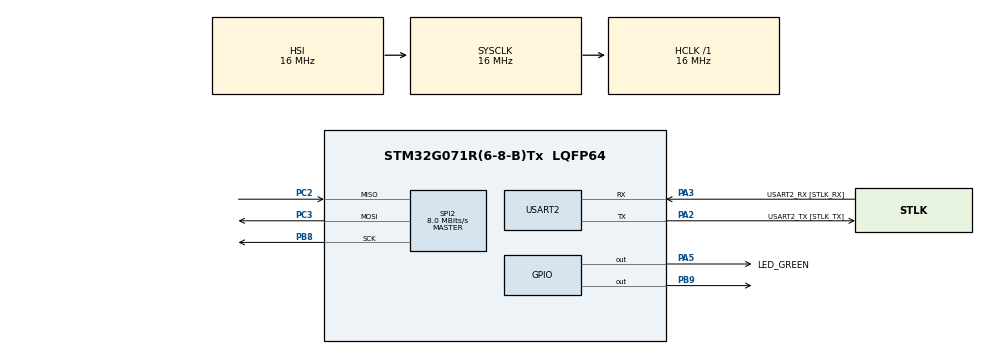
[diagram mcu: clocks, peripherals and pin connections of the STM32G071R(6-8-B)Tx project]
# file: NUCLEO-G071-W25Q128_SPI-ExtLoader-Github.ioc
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Mcu.Family=STM32G0
Mcu.Name=STM32G071R(6-8-B)Tx
Mcu.Package=LQFP64
PA13.GPIO_Label=TMS
PA13.Signal=SYS_SWDIO
PA14-BOOT0.GPIO_Label=TCK
PA14-BOOT0.Signal=SYS_SWCLK
PA2.GPIO_Label=USART2_TX [STLK_TX]
PA2.Mode=Asynchronous
PA2.Signal=USART2_TX
PA3.GPIO_Label=USART2_RX [STLK_RX]
PA3.Mode=Asynchronous
PA3.Signal=USART2_RX
PA5.GPIO_Label=LED_GREEN
PA5.GPIO_Speed=GPIO_SPEED_FREQ_HIGH
PA5.Signal=GPIO_Output
PB8.Mode=Full_Duplex_Master
PB8.Signal=SPI2_SCK
PB9.PinState=GPIO_PIN_SET
PB9.Signal=GPIO_Output
PC13.Signal=SYS_WKUP2
PC14-OSC32_IN\ (PC14).Signal=RCC_OSC32_IN
PC15-OSC32_OUT\ (PC15).Signal=RCC_OSC32_OUT
PC2.Mode=Full_Duplex_Master
PC2.Signal=SPI2_MISO
PC3.Mode=Full_Duplex_Master
PC3.Signal=SPI2_MOSI
PF0-OSC_IN\ (PF0).GPIO_Label=MCO
PF0-OSC_IN\ (PF0).Signal=RCC_OSC_IN
ProjectManager.HeapSize=0x200
ProjectManager.StackSize=0x400
ProjectManager.TargetToolchain=STM32CubeIDE
RCC.AHBFreq_Value=16000000
RCC.CortexFreq_Value=16000000
RCC.EXTERNAL_CLOCK_VALUE=12288000
RCC.HCLKFreq_Value=16000000
RCC.HSE_VALUE=8000000
RCC.HSI_VALUE=16000000
RCC.LSE_VALUE=32768
RCC.SYSCLKFreq_VALUE=16000000
RCC.VCOOutputFreq_Value=128000000
SPI2.BaudRatePrescaler=SPI_BAUDRATEPRESCALER_2
SPI2.CLKPhase=SPI_PHASE_2EDGE
SPI2.CLKPolarity=SPI_POLARITY_HIGH
SPI2.CalculateBaudRate=8.0 MBits/s
SPI2.DataSize=SPI_DATASIZE_8BIT
SPI2.Direction=SPI_DIRECTION_2LINES
SPI2.Mode=SPI_MODE_MASTER
SPI2.VirtualType=VM_MASTER
USART2.VirtualMode-Asynchronous=VM_ASYNC
VP_SYS_VS_DBSignals.Mode=DisableDeadBatterySignals
board=NUCLEO-G071RB

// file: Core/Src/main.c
/* USER CODE BEGIN Header */
/**
  ******************************************************************************
  * @file           : main.c
  * @brief          : Main program body
  ******************************************************************************
  * @attention
  *
  * <h2><center>&copy; Copyright (c) 2021 STMicroelectronics.
  * All rights reserved.</center></h2>
  *
  * This software component is licensed by ST under BSD 3-Clause license,
  * the "License"; You may not use this file except in compliance with the
  * License. You may obtain a copy of the License at:
  *                        opensource.org/licenses/BSD-3-Clause
  *
  ******************************************************************************
  */
/* USER CODE END Header */
#include "main.h"

/* USER CODE BEGIN Includes */
#include <stdio.h>
#include <string.h>
#include "W25Qx.h"
/* USER CODE END Includes */

SPI_HandleTypeDef hspi2;

UART_HandleTypeDef huart2;

/* USER CODE BEGIN PV */
#ifndef IS_EXTLOADER
#define STARTINGBLOCK	0x00
#define ARRAYSIZE 0x300
uint8_t wData[ARRAYSIZE];
uint8_t rData[ARRAYSIZE];
uint8_t ID[4];
uint32_t i;
#endif
/* USER CODE END PV */

void SystemClock_Config(void);

int main(void)
{
  /* USER CODE BEGIN 1 */
#ifndef IS_EXTLOADER
  uint8_t SR1;
#endif
  /* USER CODE END 1 */

  /* MCU Configuration--------------------------------------------------------*/

  /* Reset of all peripherals, Initializes the Flash interface and the Systick. */
  HAL_Init();

  /* Configure the system clock */
  SystemClock_Config();

  /* Initialize all configured peripherals */
  MX_GPIO_Init();
  MX_SPI2_Init();
  MX_USART2_UART_Init();
  /* USER CODE BEGIN 2 */
#ifndef IS_EXTLOADER
  printf("W25Q Pre-Test\n\r");
  printf("=====================================================================\n\r");
  printf("Perform the following sequence:\n\r");
  printf("\tRead W25Q from Sector %d with length 0x%x\n\r", STARTINGBLOCK, ARRAYSIZE);
  printf("\tRead device ID\n\r");
  printf("\tErase Sector 0x%x\n\r", STARTINGBLOCK);
  printf("\tWrite W25Q from Sector %d with length 0x%x\n\r", STARTINGBLOCK, ARRAYSIZE);
  printf("\tRead W25Q again from Sector %d with length 0x%x\n\r", STARTINGBLOCK, ARRAYSIZE);
  printf("\tCompare\n\r");
  printf("=====================================================================\n\r");

  printf("\r\nStandard-SPI-W25Qxxx Example \r\n");
  printf("W25Q Init and Reset\n\r");
  BSP_W25Qx_Init();
//  BSP_W25Qx_Read_ID(ID);
//  printf("\tManufacture: 0x%X\tDevice ID: 0x%x\n\r", ID[0], ID[1]);
//
  BSP_W25Qx_Read_StatusRegister1(&SR1);
  printf("\tStatus Register 1 = 0x%x\n\r\n\r", SR1);

//	/*##-0  Mass Erase #################################*/
//	printf("Perform Chip Erase...\n\r");
//	BSP_W25Qx_Erase_Chip();
//	printf("\tDone!");

	/*##-3- Read the flash     ########################*/
	if(BSP_W25Qx_Read(rData, STARTINGBLOCK * W25Q128FV_SUBSECTOR_SIZE, ARRAYSIZE)== W25Qx_OK)
		//printf("Standard SPI Read ok\r\n\r\n");
		printf("Standard SPI Read Data from Sector %d with length 0x%x: OK!\r\n", STARTINGBLOCK, ARRAYSIZE);
	else
		Error_Handler();

	//printf("Standard SPI Read Data from Sector %d with length 0x%x:\r\n", STARTINGBLOCK, ARRAYSIZE);
	printf("\n\rDisplay Read Data : \r\n");
	for(i =0;i<ARRAYSIZE;i++)
		printf("0x%02X  ",rData[i]);
	printf("\r\n\r\n");

	/*##-1- Read the device ID  ########################*/
	BSP_W25Qx_Init();
	BSP_W25Qx_Read_ID(ID);
	printf("W25Qxxx ID is : ");
	for(i=0;i<2;i++)
	{
		printf("0x%02X ",ID[i]);
	}
	printf("\r\n\r\n");

	/*##-2- Erase Block ##################################*/
//	uint32_t EraseBlockNumber = (ARRAYSIZE / W25Q128FV_SUBSECTOR_SIZE) + 1;
//    for (i=0;i<EraseBlockNumber;i++)
//    {
//    	if(BSP_W25Qx_Erase_Block(i) == W25Qx_OK)
//    		printf(" Standard SPI Erase Block %d ok\r\n", (int)i);
//    	else
//    		Error_Handler();
//    }
	if(BSP_W25Qx_Erase_Block(STARTINGBLOCK) == W25Qx_OK)
		printf("Standard SPI Erase Block %d: OK!\r\n", STARTINGBLOCK);
	else
		Error_Handler();

	/*##-2- Written to the flash ########################*/
	/* Prepare buffer */
	uint32_t loop = ARRAYSIZE / W25Q128FV_PAGE_SIZE;
	for (uint8_t j=0;j<loop;j++)
	{
		for(i =0;i<0x100;i ++)
		{
			  wData[j*0x100+i] = i;
			  rData[j*0x100+i] = 0;
		}

	}

	/* Perform write to flash */
	if(BSP_W25Qx_Write(wData, STARTINGBLOCK * W25Q128FV_SUBSECTOR_SIZE, ARRAYSIZE)== W25Qx_OK)
		//printf(" Standard SPI Write ok\r\n");
		printf("Standard SPI Write Data to Sector %d with length 0x%x: OK!\r\n",STARTINGBLOCK, ARRAYSIZE);
	else
		Error_Handler();

	/*##-3- Read the flash     ########################*/
	if(BSP_W25Qx_Read(rData, STARTINGBLOCK * W25Q128FV_SUBSECTOR_SIZE, ARRAYSIZE)== W25Qx_OK)
		//printf(" Standard SPI Read ok\r\n\r\n");
		printf("Standard SPI Read Data from Sector %d with length 0x%x: OK!\r\n",STARTINGBLOCK, ARRAYSIZE);
	else
		Error_Handler();

	printf("\n\rDisplay Read Data : \r\n");
	for(i =0;i<ARRAYSIZE;i++)
		printf("0x%02X  ",rData[i]);
	printf("\r\n\r\n");

	/*##-4- check date          ########################*/
	if(memcmp(wData,rData,ARRAYSIZE) == 0 )
		printf("W25Q128FV Standard SPI Test OK\r\n");
	else
		printf("W25Q128FV Standard SPI Test False\r\n");
#endif
  /* USER CODE END 2 */

  /* Infinite loop */
  while (1)
  {

  }
}

void SystemClock_Config(void)
{
  RCC_OscInitTypeDef RCC_OscInitStruct = {0};
  RCC_ClkInitTypeDef RCC_ClkInitStruct = {0};
  RCC_PeriphCLKInitTypeDef PeriphClkInit = {0};

  /** Configure the main internal regulator output voltage
  */
  HAL_PWREx_ControlVoltageScaling(PWR_REGULATOR_VOLTAGE_SCALE1);
  /** Initializes the RCC Oscillators according to the specified parameters
  * in the RCC_OscInitTypeDef structure.
  */
  RCC_OscInitStruct.OscillatorType = RCC_OSCILLATORTYPE_HSI;
  RCC_OscInitStruct.HSIState = RCC_HSI_ON;
  RCC_OscInitStruct.HSIDiv = RCC_HSI_DIV1;
  RCC_OscInitStruct.HSICalibrationValue = RCC_HSICALIBRATION_DEFAULT;
  RCC_OscInitStruct.PLL.PLLState = RCC_PLL_NONE;
  if (HAL_RCC_OscConfig(&RCC_OscInitStruct) != HAL_OK)
  {
    Error_Handler();
  }
  /** Initializes the CPU, AHB and APB buses clocks
  */
  RCC_ClkInitStruct.ClockType = RCC_CLOCKTYPE_HCLK|RCC_CLOCKTYPE_SYSCLK
                              |RCC_CLOCKTYPE_PCLK1;
  RCC_ClkInitStruct.SYSCLKSource = RCC_SYSCLKSOURCE_HSI;
  RCC_ClkInitStruct.AHBCLKDivider = RCC_SYSCLK_DIV1;
  RCC_ClkInitStruct.APB1CLKDivider = RCC_HCLK_DIV1;

  if (HAL_RCC_ClockConfig(&RCC_ClkInitStruct, FLASH_LATENCY_0) != HAL_OK)
  {
    Error_Handler();
  }
  /** Initializes the peripherals clocks
  */
  PeriphClkInit.PeriphClockSelection = RCC_PERIPHCLK_USART2;
  PeriphClkInit.Usart2ClockSelection = RCC_USART2CLKSOURCE_PCLK1;
  if (HAL_RCCEx_PeriphCLKConfig(&PeriphClkInit) != HAL_OK)
  {
    Error_Handler();
  }
}

void MX_SPI2_Init(void)
{

  /* SPI2 parameter configuration*/
  hspi2.Instance = SPI2;
  hspi2.Init.Mode = SPI_MODE_MASTER;
  hspi2.Init.Direction = SPI_DIRECTION_2LINES;
  hspi2.Init.DataSize = SPI_DATASIZE_8BIT;
  hspi2.Init.CLKPolarity = SPI_POLARITY_HIGH;
  hspi2.Init.CLKPhase = SPI_PHASE_2EDGE;
  hspi2.Init.NSS = SPI_NSS_SOFT;
  hspi2.Init.BaudRatePrescaler = SPI_BAUDRATEPRESCALER_2;
  hspi2.Init.FirstBit = SPI_FIRSTBIT_MSB;
  hspi2.Init.TIMode = SPI_TIMODE_DISABLE;
  hspi2.Init.CRCCalculation = SPI_CRCCALCULATION_DISABLE;
  hspi2.Init.CRCPolynomial = 7;
  hspi2.Init.CRCLength = SPI_CRC_LENGTH_DATASIZE;
  hspi2.Init.NSSPMode = SPI_NSS_PULSE_DISABLE;
  if (HAL_SPI_Init(&hspi2) != HAL_OK)
  {
    Error_Handler();
  }

}

void MX_USART2_UART_Init(void)
{

  huart2.Instance = USART2;
  huart2.Init.BaudRate = 115200;
  huart2.Init.WordLength = UART_WORDLENGTH_8B;
  huart2.Init.StopBits = UART_STOPBITS_1;
  huart2.Init.Parity = UART_PARITY_NONE;
  huart2.Init.Mode = UART_MODE_TX_RX;
  huart2.Init.HwFlowCtl = UART_HWCONTROL_NONE;
  huart2.Init.OverSampling = UART_OVERSAMPLING_16;
  huart2.Init.OneBitSampling = UART_ONE_BIT_SAMPLE_DISABLE;
  huart2.Init.ClockPrescaler = UART_PRESCALER_DIV1;
  huart2.AdvancedInit.AdvFeatureInit = UART_ADVFEATURE_NO_INIT;
  if (HAL_UART_Init(&huart2) != HAL_OK)
  {
    Error_Handler();
  }
  if (HAL_UARTEx_SetTxFifoThreshold(&huart2, UART_TXFIFO_THRESHOLD_1_8) != HAL_OK)
  {
    Error_Handler();
  }
  if (HAL_UARTEx_SetRxFifoThreshold(&huart2, UART_RXFIFO_THRESHOLD_1_8) != HAL_OK)
  {
    Error_Handler();
  }
  if (HAL_UARTEx_DisableFifoMode(&huart2) != HAL_OK)
  {
    Error_Handler();
  }

}

void MX_GPIO_Init(void)
{
  GPIO_InitTypeDef GPIO_InitStruct = {0};

  /* GPIO Ports Clock Enable */
  __HAL_RCC_GPIOC_CLK_ENABLE();
  __HAL_RCC_GPIOF_CLK_ENABLE();
  __HAL_RCC_GPIOA_CLK_ENABLE();
  __HAL_RCC_GPIOB_CLK_ENABLE();

  /*Configure GPIO pin Output Level */
  HAL_GPIO_WritePin(LED_GREEN_GPIO_Port, LED_GREEN_Pin, GPIO_PIN_RESET);

  /*Configure GPIO pin Output Level */
  HAL_GPIO_WritePin(GPIOB, GPIO_PIN_9, GPIO_PIN_SET);

  /*Configure GPIO pin : LED_GREEN_Pin */
  GPIO_InitStruct.Pin = LED_GREEN_Pin;
  GPIO_InitStruct.Mode = GPIO_MODE_OUTPUT_PP;
  GPIO_InitStruct.Pull = GPIO_NOPULL;
  GPIO_InitStruct.Speed = GPIO_SPEED_FREQ_HIGH;
  HAL_GPIO_Init(LED_GREEN_GPIO_Port, &GPIO_InitStruct);

  /*Configure GPIO pin : PB9 */
  GPIO_InitStruct.Pin = GPIO_PIN_9;
  GPIO_InitStruct.Mode = GPIO_MODE_OUTPUT_PP;
  GPIO_InitStruct.Pull = GPIO_NOPULL;
  GPIO_InitStruct.Speed = GPIO_SPEED_FREQ_LOW;
  HAL_GPIO_Init(GPIOB, &GPIO_InitStruct);

}

/* USER CODE BEGIN 4 */
int __io_putchar(int ch)
{
	HAL_UART_Transmit(&huart2, (uint8_t*)&ch, 1, 0xffff);
	return ch;
}
/* USER CODE END 4 */

void Error_Handler(void)
{
  __disable_irq();
  while (1)
  {
  }
}

/************************ (C) COPYRIGHT STMicroelectronics *****END OF FILE****/
